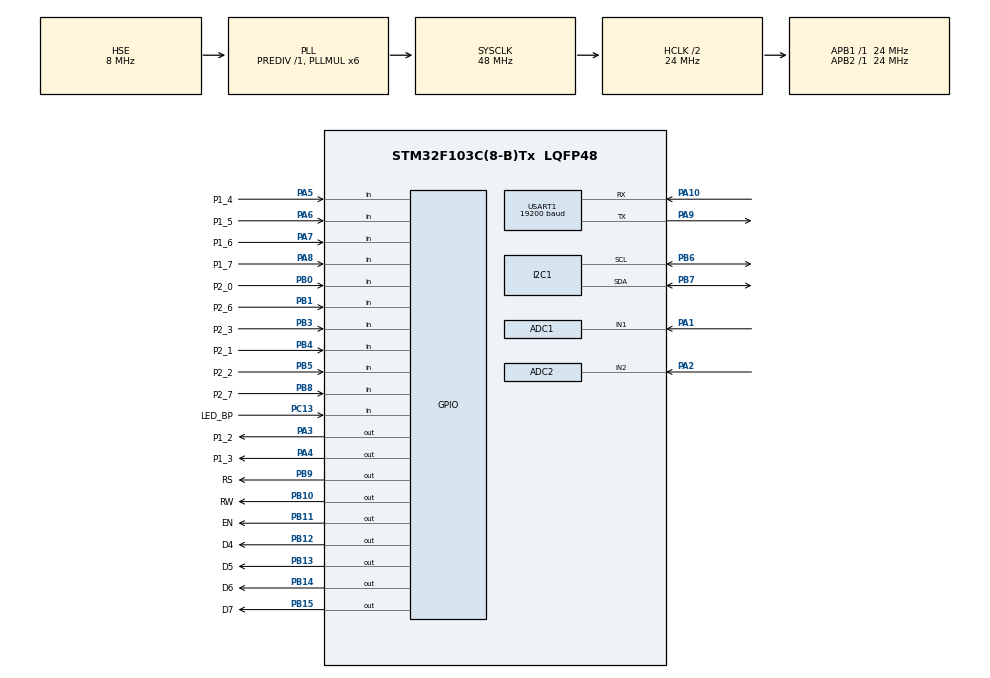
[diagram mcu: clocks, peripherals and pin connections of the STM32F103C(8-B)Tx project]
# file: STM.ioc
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ADC1.Channel-1\#ChannelRegularConversion=ADC_CHANNEL_1
ADC1.ContinuousConvMode=ENABLE
ADC1.NbrOfConversionFlag=1
ADC1.Rank-1\#ChannelRegularConversion=1
ADC1.SamplingTime-1\#ChannelRegularConversion=ADC_SAMPLETIME_41CYCLES_5
ADC1.master=1
ADC2.Channel-2\#ChannelRegularConversion=ADC_CHANNEL_2
ADC2.NbrOfConversionFlag=1
ADC2.Rank-2\#ChannelRegularConversion=1
ADC2.SamplingTime-2\#ChannelRegularConversion=ADC_SAMPLETIME_1CYCLE_5
Mcu.Family=STM32F1
Mcu.Name=STM32F103C(8-B)Tx
Mcu.Package=LQFP48
NVIC.PriorityGroup=NVIC_PRIORITYGROUP_4
NVIC.TIM2_IRQn=true\:0\:0\:false\:false\:true\:true\:true\:true
PA1.Signal=ADCx_IN1
PA10.Mode=Asynchronous
PA10.Signal=USART1_RX
PA13.Mode=Serial_Wire
PA13.Signal=SYS_JTMS-SWDIO
PA14.Mode=Serial_Wire
PA14.Signal=SYS_JTCK-SWCLK
PA2.Signal=ADCx_IN2
PA3.GPIO_Label=P1_2
PA3.Signal=GPIO_Output
PA4.GPIO_Label=P1_3
PA4.Signal=GPIO_Output
PA5.GPIO_Label=P1_4
PA5.Signal=GPIO_Input
PA6.GPIO_Label=P1_5
PA6.Signal=GPIO_Input
PA7.GPIO_Label=P1_6
PA7.Signal=GPIO_Input
PA8.GPIO_Label=P1_7
PA8.Signal=GPIO_Input
PA9.Mode=Asynchronous
PA9.Signal=USART1_TX
PB0.GPIO_Label=P2_0
PB0.Signal=GPIO_Input
PB1.GPIO_Label=P2_6
PB1.Signal=GPIO_Input
PB10.GPIO_Label=RW
PB10.Signal=GPIO_Output
PB11.GPIO_Label=EN
PB11.Signal=GPIO_Output
PB12.GPIO_Label=D4
PB12.Signal=GPIO_Output
PB13.GPIO_Label=D5
PB13.Signal=GPIO_Output
PB14.GPIO_Label=D6
PB14.Signal=GPIO_Output
PB15.GPIO_Label=D7
PB15.Signal=GPIO_Output
PB3.GPIO_Label=P2_3
PB3.Signal=GPIO_Input
PB4.GPIO_Label=P2_1
PB4.Signal=GPIO_Input
PB5.GPIO_Label=P2_2
PB5.Signal=GPIO_Input
PB6.Mode=I2C
PB6.Signal=I2C1_SCL
PB7.Mode=I2C
PB7.Signal=I2C1_SDA
PB8.GPIO_Label=P2_7
PB8.Signal=GPIO_Input
PB9.GPIO_Label=RS
PB9.Signal=GPIO_Output
PC13-TAMPER-RTC.GPIO_Label=LED_BP
PC13-TAMPER-RTC.Signal=GPIO_Input
PD0-OSC_IN.Mode=HSE-External-Oscillator
PD0-OSC_IN.Signal=RCC_OSC_IN
PD1-OSC_OUT.Mode=HSE-External-Oscillator
PD1-OSC_OUT.Signal=RCC_OSC_OUT
ProjectManager.HeapSize=0x200
ProjectManager.StackSize=0x400
ProjectManager.TargetToolchain=STM32CubeIDE
RCC.AHBCLKDivider=RCC_SYSCLK_DIV2
RCC.AHBFreq_Value=24000000
RCC.APB1Freq_Value=24000000
RCC.APB1TimFreq_Value=24000000
RCC.APB2Freq_Value=24000000
RCC.APB2TimFreq_Value=24000000
RCC.HCLKFreq_Value=24000000
RCC.PLLMUL=RCC_PLL_MUL6
RCC.PLLSourceVirtual=RCC_PLLSOURCE_HSE
RCC.SYSCLKFreq_VALUE=48000000
RCC.SYSCLKSource=RCC_SYSCLKSOURCE_PLLCLK
RCC.USBFreq_Value=48000000
SH.ADCx_IN1.0=ADC1_IN1,IN1
SH.ADCx_IN2.0=ADC2_IN2,IN2
USART1.BaudRate=19200
USART1.VirtualMode=VM_ASYNC
VP_TIM2_VS_ClockSourceINT.Mode=Internal
board=custom

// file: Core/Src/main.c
/* USER CODE BEGIN Header */
/**
  ******************************************************************************
  * @file           : main.c
  * @brief          : Main program body
  ******************************************************************************
  * @attention
  *
  * Copyright (c) 2025 STMicroelectronics.
  * All rights reserved.
  *
  * This software is licensed under terms that can be found in the LICENSE file
  * in the root directory of this software component.
  * If no LICENSE file comes with this software, it is provided AS-IS.
  *
  ******************************************************************************
  */
/* USER CODE END Header */
#include "main.h"

/* USER CODE BEGIN Includes */
#include "lcd.h"
#include "Keyboard.h"
#include "arm_logic.h"
#include "UART_Com.h"
#include "Mem_Tac.h"
#include "Gui.h"
#include "Automanu_mode.h"
#include <stdbool.h>

/* USER CODE END Includes */

/* USER CODE BEGIN PD */
#define TRUE  1
#define FALSE 0

#define OPEN  1
#define CLOSE 0

#define MANUAL 69
#define AUTO 67
#define DANCE 42

/* USER CODE END PD */

ADC_HandleTypeDef hadc1;
ADC_HandleTypeDef hadc2;
I2C_HandleTypeDef hi2c1;
TIM_HandleTypeDef htim2;
UART_HandleTypeDef huart1;

/* USER CODE BEGIN PV */
int function = 0;
Point Table_pos = {0,0};
int Out_Pivots[5];
int test = 0;
int Weight = 0;
int ctrl_mode = AUTO;
int key;

// non blocking delay:
typedef enum {
  STATE_IDLE,
  STATE_AT_HOME,
  STATE_GRAB_WEIGHT,
  STATE_WAIT_1,
  STATE_WAIT_2,
} ArmState;

ArmState arm_state = STATE_IDLE;
int now;
int state_timer = 0;
int adc_weight = 0;
int adc_pince = 0;
Point saved_pos = {0, 0};
int button_timer = 0;

/* USER CODE END PV */

void SystemClock_Config(void);
static void MX_GPIO_Init(void);
static void MX_TIM2_Init(void);
static void MX_USART1_UART_Init(void);
static void MX_I2C1_Init(void);
static void MX_ADC1_Init(void);
static void MX_ADC2_Init(void);
/* USER CODE BEGIN PFP */
void SystemClock_Config(void);
static void MX_GPIO_Init(void);
static void MX_TIM2_Init(void);
static void MX_USART1_UART_Init(void);

/* USER CODE END PFP */

int main(void)
{

  /* MCU Configuration--------------------------------------------------------*/

  /* Reset of all peripherals, Initializes the Flash interface and the Systick. */
  HAL_Init();

  /* Configure the system clock */
  SystemClock_Config();

  /* Initialize all configured peripherals */
  MX_GPIO_Init();
  MX_TIM2_Init();
  MX_USART1_UART_Init();
  MX_I2C1_Init();
  MX_ADC1_Init();
  MX_ADC2_Init();
  /* USER CODE BEGIN 2 */

  /* Initialize LCD */
  GUI_Init();

  /* USER CODE END 2 */

  /* Infinite loop */
  /* USER CODE BEGIN WHILE */

while (1) {
  // ----- run main code if pic received shit----- //
  now = HAL_GetTick();

  // here check * or # button to go to manual or AUTOMANU
  key = Clavier_MX();
  if ((key == '*') && (now - button_timer >= 1500)) {
    button_timer = now;  // reset debounce timer
    if (ctrl_mode != MANUAL) {
      ctrl_mode = MANUAL;
      arm_state = STATE_IDLE;
    }
    else {
      ctrl_mode = AUTO;
    }
  }
  // # toggle AUTOMANU)
  if (key == '#') {
    LCD_Clear();
    Automanu_mode();
    arm_state = STATE_IDLE;
  }
  // A to toggle FUN mode
  if ((key == 'C') && (now - button_timer >= 1500)) {
    button_timer = now;  // reset debounce timer
    if (ctrl_mode != DANCE) {
      ctrl_mode = DANCE;
      ARM_LOGIC(10, 0, 10, CLOSE, Out_Pivots);
      arm_state = STATE_IDLE;
    }
    else {
      ctrl_mode = AUTO;
    }
  }

  // get the 8 bits fromt the pic
  uint8_t* UART_Inputs = UART_Receive();
  Table_pos = Lire_Tab(UART_Inputs);

  // display every info and check for manue ctrl
  adc_weight = ADC_Read_Balance();
  adc_pince = ADC_Read_Pince();
  Run_GUI(Table_pos.x, Table_pos.y, ctrl_mode, Out_Pivots, adc_weight, adc_pince);

  // ----- mode auto -----//
  if (ctrl_mode == AUTO) {
    switch (arm_state) {

    // idle logic
    case STATE_IDLE:
      if ((Table_pos.x != 0) || (Table_pos.y != 0)) {
        // Weight detected
        saved_pos = Table_pos;
        state_timer = now;
        arm_state = STATE_GRAB_WEIGHT;
      }
      // if no weight after 5 seconds, go home
      else if (now - state_timer >= 7500) {
        ARM_LOGIC(10, -1.5, 10, CLOSE, Out_Pivots);
        ARM_LOGIC(10, -1.5,  0, CLOSE, Out_Pivots);
        arm_state = STATE_AT_HOME;
      }
      break;

    case STATE_AT_HOME:
      if ((Table_pos.x != 0) || (Table_pos.y != 0)) {
        saved_pos = Table_pos;
        ARM_LOGIC(10, -1.5, 10, CLOSE, Out_Pivots);
        ARM_LOGIC(00, 23.0, 20,  OPEN, Out_Pivots);
        state_timer = now;
        arm_state = STATE_GRAB_WEIGHT;
      }
      break;

    // grabs the weight
    case STATE_GRAB_WEIGHT:
      if (now - state_timer >= 750) {
        ARM_LOGIC(saved_pos.x, saved_pos.y, AUTO, CLOSE, Out_Pivots);
        state_timer = now;
        arm_state = STATE_WAIT_1;
      }
      break;

    // palces the cylinders in the balance
    case STATE_WAIT_1:
      if (now - state_timer >= 1500) {
        ARM_LOGIC(-2, 40, 5, OPEN, Out_Pivots);
        state_timer = now;
        arm_state = STATE_WAIT_2;
      }
      break;

    // test for the wieght and the go to its desired section
    case STATE_WAIT_2:
      if (now - state_timer >= 4000) {
        // read wieght and dispaly it
        adc_weight = ADC_Read_Balance();
        adc_pince = ADC_Read_Pince();
        Run_GUI(Table_pos.x, Table_pos.y, ctrl_mode, Out_Pivots, adc_weight, adc_pince);
        ARM_LOGIC(-2, 40, AUTO, CLOSE, Out_Pivots);

        // weight 20G
        if      (adc_weight >=  250 && adc_weight <= 1000) {
          ARM_LOGIC(14, 25, 8,  OPEN, Out_Pivots);
          ARM_LOGIC(14, 25, 12, OPEN, Out_Pivots);

          // special animation
          ARM_LOGIC(-11, -16, 10, OPEN, Out_Pivots);
          HAL_Delay(1000);
          ARM_LOGIC(-11, -16, -2.5,  OPEN, Out_Pivots);
          ARM_LOGIC(-11, -15, -2.5, CLOSE, Out_Pivots);
          HAL_Delay(500);
          ARM_LOGIC(-11, -25, -5, CLOSE, Out_Pivots);
        }
        // weight 50G
        else if (adc_weight >= 1000 && adc_weight <= 2000) {
          ARM_LOGIC(15, 29.6, 8, OPEN, Out_Pivots);
        }
        // weight 80G
        else if (adc_weight >= 2000 && adc_weight <= 3000) {
          ARM_LOGIC(15, 33.5, 8, OPEN, Out_Pivots);
        }
        // no weight
        else {
          ARM_LOGIC(0, 23, 15, OPEN, Out_Pivots);
          arm_state = STATE_IDLE;
        }

        HAL_Delay(1000);
        state_timer = HAL_GetTick();
        ARM_LOGIC(0, 23, 15, OPEN, Out_Pivots);
        arm_state = STATE_IDLE;
      }
      break;
    }
    HAL_Delay(500);
  }

  // ----- mode manuel -----//
  if (ctrl_mode == MANUAL) {
    // pivot 0
    if (key == '1' && Out_Pivots[0] < 205) Out_Pivots[0] += 2;
    if (key == '4' && Out_Pivots[0] > 000) Out_Pivots[0] -= 2;
    // pivot 1
    if (key == '2' && Out_Pivots[1] < 205) Out_Pivots[1] += 2;
    if (key == '5' && Out_Pivots[1] > 000) Out_Pivots[1] -= 2;
    // pivot 2
    if (key == '3' && Out_Pivots[2] < 205) Out_Pivots[2] += 2;
    if (key == '6' && Out_Pivots[2] > 000) Out_Pivots[2] -= 2;
    // pivot 3
    if (key == 'A' && Out_Pivots[3] < 205) Out_Pivots[3] += 2;
    if (key == 'B' && Out_Pivots[3] > 000) Out_Pivots[3] -= 2;
    // pivot 4 (toggle open(Out_Pivots[4] = 0) / close(Out_Pivots[4] = 205))
    if (key == 'C') {
      Out_Pivots[4] = (Out_Pivots[4] == 0) ? 205 : 0;
    }

    UART_Send(
      (uint8_t)Out_Pivots[0],
      (uint8_t)Out_Pivots[1],
      (uint8_t)Out_Pivots[2],
      (uint8_t)Out_Pivots[3],
      (uint8_t)Out_Pivots[4]
    );
  }

  // ----- mode fun -----//
  if (ctrl_mode == DANCE) {   // stupid dance function made by jess
    ARM_LOGIC(-40, 0, 15, OPEN, Out_Pivots);
    ARM_LOGIC(-10, 0, 15, OPEN, Out_Pivots);
  }

    /* USER CODE END WHILE */

  }
}

void SystemClock_Config(void)
{
  RCC_OscInitTypeDef RCC_OscInitStruct = {0};
  RCC_ClkInitTypeDef RCC_ClkInitStruct = {0};
  RCC_PeriphCLKInitTypeDef PeriphClkInit = {0};

  /** Initializes the RCC Oscillators according to the specified parameters
  * in the RCC_OscInitTypeDef structure.
  */
  RCC_OscInitStruct.OscillatorType = RCC_OSCILLATORTYPE_HSE;
  RCC_OscInitStruct.HSEState = RCC_HSE_ON;
  RCC_OscInitStruct.HSEPredivValue = RCC_HSE_PREDIV_DIV1;
  RCC_OscInitStruct.HSIState = RCC_HSI_ON;
  RCC_OscInitStruct.PLL.PLLState = RCC_PLL_ON;
  RCC_OscInitStruct.PLL.PLLSource = RCC_PLLSOURCE_HSE;
  RCC_OscInitStruct.PLL.PLLMUL = RCC_PLL_MUL6;
  if (HAL_RCC_OscConfig(&RCC_OscInitStruct) != HAL_OK)
  {
    Error_Handler();
  }

  /** Initializes the CPU, AHB and APB buses clocks
  */
  RCC_ClkInitStruct.ClockType = RCC_CLOCKTYPE_HCLK|RCC_CLOCKTYPE_SYSCLK
                              |RCC_CLOCKTYPE_PCLK1|RCC_CLOCKTYPE_PCLK2;
  RCC_ClkInitStruct.SYSCLKSource = RCC_SYSCLKSOURCE_PLLCLK;
  RCC_ClkInitStruct.AHBCLKDivider = RCC_SYSCLK_DIV2;
  RCC_ClkInitStruct.APB1CLKDivider = RCC_HCLK_DIV1;
  RCC_ClkInitStruct.APB2CLKDivider = RCC_HCLK_DIV1;

  if (HAL_RCC_ClockConfig(&RCC_ClkInitStruct, FLASH_LATENCY_1) != HAL_OK)
  {
    Error_Handler();
  }
  PeriphClkInit.PeriphClockSelection = RCC_PERIPHCLK_ADC;
  PeriphClkInit.AdcClockSelection = RCC_ADCPCLK2_DIV2;
  if (HAL_RCCEx_PeriphCLKConfig(&PeriphClkInit) != HAL_OK)
  {
    Error_Handler();
  }
}

static void MX_ADC1_Init(void)
{

  ADC_ChannelConfTypeDef sConfig = {0};

  /** Common config
  */
  hadc1.Instance = ADC1;
  hadc1.Init.ScanConvMode = ADC_SCAN_DISABLE;
  hadc1.Init.ContinuousConvMode = ENABLE;
  hadc1.Init.DiscontinuousConvMode = DISABLE;
  hadc1.Init.ExternalTrigConv = ADC_SOFTWARE_START;
  hadc1.Init.DataAlign = ADC_DATAALIGN_RIGHT;
  hadc1.Init.NbrOfConversion = 1;
  if (HAL_ADC_Init(&hadc1) != HAL_OK)
  {
    Error_Handler();
  }

  /** Configure Regular Channel
  */
  sConfig.Channel = ADC_CHANNEL_1;
  sConfig.Rank = ADC_REGULAR_RANK_1;
  sConfig.SamplingTime = ADC_SAMPLETIME_41CYCLES_5;
  if (HAL_ADC_ConfigChannel(&hadc1, &sConfig) != HAL_OK)
  {
    Error_Handler();
  }

}

static void MX_ADC2_Init(void)
{

  ADC_ChannelConfTypeDef sConfig = {0};

  /** Common config
  */
  hadc2.Instance = ADC2;
  hadc2.Init.ScanConvMode = ADC_SCAN_DISABLE;
  hadc2.Init.ContinuousConvMode = DISABLE;
  hadc2.Init.DiscontinuousConvMode = DISABLE;
  hadc2.Init.ExternalTrigConv = ADC_SOFTWARE_START;
  hadc2.Init.DataAlign = ADC_DATAALIGN_RIGHT;
  hadc2.Init.NbrOfConversion = 1;
  if (HAL_ADC_Init(&hadc2) != HAL_OK)
  {
    Error_Handler();
  }

  /** Configure Regular Channel
  */
  sConfig.Channel = ADC_CHANNEL_2;
  sConfig.Rank = ADC_REGULAR_RANK_1;
  sConfig.SamplingTime = ADC_SAMPLETIME_1CYCLE_5;
  if (HAL_ADC_ConfigChannel(&hadc2, &sConfig) != HAL_OK)
  {
    Error_Handler();
  }

}

static void MX_I2C1_Init(void)
{

  hi2c1.Instance = I2C1;
  hi2c1.Init.ClockSpeed = 100000;
  hi2c1.Init.DutyCycle = I2C_DUTYCYCLE_2;
  hi2c1.Init.OwnAddress1 = 0;
  hi2c1.Init.AddressingMode = I2C_ADDRESSINGMODE_7BIT;
  hi2c1.Init.DualAddressMode = I2C_DUALADDRESS_DISABLE;
  hi2c1.Init.OwnAddress2 = 0;
  hi2c1.Init.GeneralCallMode = I2C_GENERALCALL_DISABLE;
  hi2c1.Init.NoStretchMode = I2C_NOSTRETCH_DISABLE;
  if (HAL_I2C_Init(&hi2c1) != HAL_OK)
  {
    Error_Handler();
  }

}

static void MX_TIM2_Init(void)
{

  TIM_ClockConfigTypeDef sClockSourceConfig = {0};
  TIM_MasterConfigTypeDef sMasterConfig = {0};

  htim2.Instance = TIM2;
  htim2.Init.Prescaler = 0;
  htim2.Init.CounterMode = TIM_COUNTERMODE_UP;
  htim2.Init.Period = 65535;
  htim2.Init.ClockDivision = TIM_CLOCKDIVISION_DIV1;
  htim2.Init.AutoReloadPreload = TIM_AUTORELOAD_PRELOAD_DISABLE;
  if (HAL_TIM_Base_Init(&htim2) != HAL_OK)
  {
    Error_Handler();
  }
  sClockSourceConfig.ClockSource = TIM_CLOCKSOURCE_INTERNAL;
  if (HAL_TIM_ConfigClockSource(&htim2, &sClockSourceConfig) != HAL_OK)
  {
    Error_Handler();
  }
  sMasterConfig.MasterOutputTrigger = TIM_TRGO_RESET;
  sMasterConfig.MasterSlaveMode = TIM_MASTERSLAVEMODE_DISABLE;
  if (HAL_TIMEx_MasterConfigSynchronization(&htim2, &sMasterConfig) != HAL_OK)
  {
    Error_Handler();
  }

}

static void MX_USART1_UART_Init(void)
{

  huart1.Instance = USART1;
  huart1.Init.BaudRate = 19200;
  huart1.Init.WordLength = UART_WORDLENGTH_8B;
  huart1.Init.StopBits = UART_STOPBITS_1;
  huart1.Init.Parity = UART_PARITY_NONE;
  huart1.Init.Mode = UART_MODE_TX_RX;
  huart1.Init.HwFlowCtl = UART_HWCONTROL_NONE;
  huart1.Init.OverSampling = UART_OVERSAMPLING_16;
  if (HAL_UART_Init(&huart1) != HAL_OK)
  {
    Error_Handler();
  }

}

static void MX_GPIO_Init(void)
{
  GPIO_InitTypeDef GPIO_InitStruct = {0};

  /* GPIO Ports Clock Enable */
  __HAL_RCC_GPIOC_CLK_ENABLE();
  __HAL_RCC_GPIOD_CLK_ENABLE();
  __HAL_RCC_GPIOA_CLK_ENABLE();
  __HAL_RCC_GPIOB_CLK_ENABLE();

  /*Configure GPIO pin Output Level */
  HAL_GPIO_WritePin(GPIOA, P1_2_Pin|P1_3_Pin, GPIO_PIN_RESET);

  /*Configure GPIO pin Output Level */
  HAL_GPIO_WritePin(GPIOB, RW_Pin|EN_Pin|D4_Pin|D5_Pin
                          |D6_Pin|D7_Pin|RS_Pin, GPIO_PIN_RESET);

  /*Configure GPIO pin : LED_BP_Pin */
  GPIO_InitStruct.Pin = LED_BP_Pin;
  GPIO_InitStruct.Mode = GPIO_MODE_INPUT;
  GPIO_InitStruct.Pull = GPIO_NOPULL;
  HAL_GPIO_Init(LED_BP_GPIO_Port, &GPIO_InitStruct);

  /*Configure GPIO pins : P1_2_Pin P1_3_Pin */
  GPIO_InitStruct.Pin = P1_2_Pin|P1_3_Pin;
  GPIO_InitStruct.Mode = GPIO_MODE_OUTPUT_PP;
  GPIO_InitStruct.Pull = GPIO_NOPULL;
  GPIO_InitStruct.Speed = GPIO_SPEED_FREQ_LOW;
  HAL_GPIO_Init(GPIOA, &GPIO_InitStruct);

  /*Configure GPIO pins : P1_4_Pin P1_5_Pin P1_6_Pin P1_7_Pin */
  GPIO_InitStruct.Pin = P1_4_Pin|P1_5_Pin|P1_6_Pin|P1_7_Pin;
  GPIO_InitStruct.Mode = GPIO_MODE_INPUT;
  GPIO_InitStruct.Pull = GPIO_NOPULL;
  HAL_GPIO_Init(GPIOA, &GPIO_InitStruct);

  /*Configure GPIO pins : P2_0_Pin P2_6_Pin P2_3_Pin P2_1_Pin
                           P2_2_Pin P2_7_Pin */
  GPIO_InitStruct.Pin = P2_0_Pin|P2_6_Pin|P2_3_Pin|P2_1_Pin
                          |P2_2_Pin|P2_7_Pin;
  GPIO_InitStruct.Mode = GPIO_MODE_INPUT;
  GPIO_InitStruct.Pull = GPIO_NOPULL;
  HAL_GPIO_Init(GPIOB, &GPIO_InitStruct);

  /*Configure GPIO pins : RW_Pin EN_Pin D4_Pin D5_Pin
                           D6_Pin D7_Pin RS_Pin */
  GPIO_InitStruct.Pin = RW_Pin|EN_Pin|D4_Pin|D5_Pin
                          |D6_Pin|D7_Pin|RS_Pin;
  GPIO_InitStruct.Mode = GPIO_MODE_OUTPUT_PP;
  GPIO_InitStruct.Pull = GPIO_NOPULL;
  GPIO_InitStruct.Speed = GPIO_SPEED_FREQ_LOW;
  HAL_GPIO_Init(GPIOB, &GPIO_InitStruct);

}

void Error_Handler(void)
{
  __disable_irq();
  while (1)
  {
  }
}
